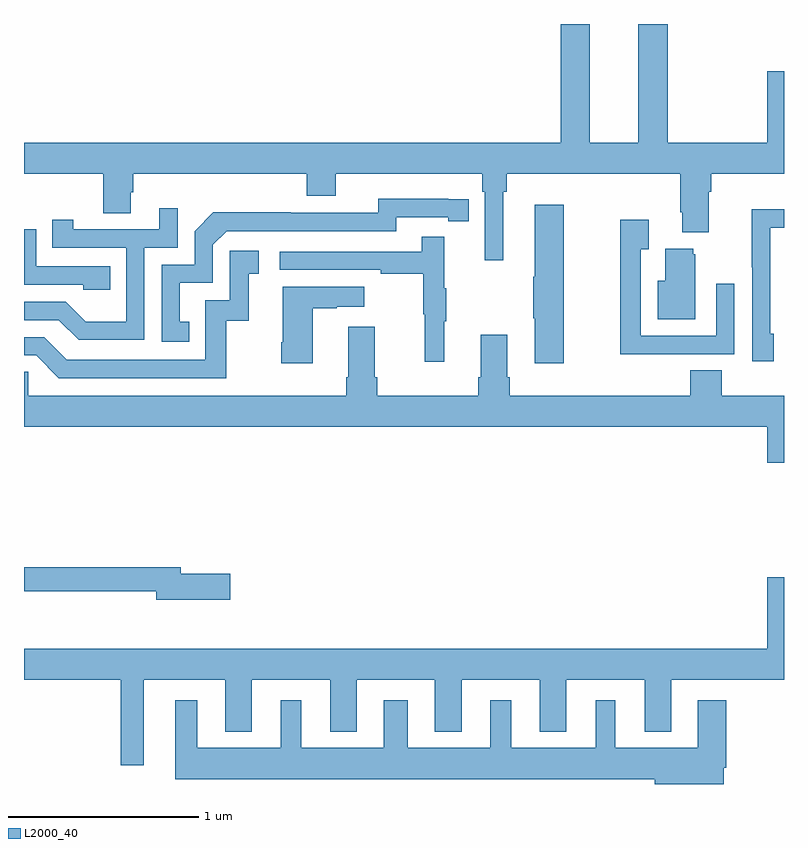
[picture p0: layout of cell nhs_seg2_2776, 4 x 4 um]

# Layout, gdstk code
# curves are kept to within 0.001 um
import gdstk
lib = gdstk.Library(unit=1e-6, precision=1e-09)
def P(c, l, *ps):  # polygons
    for p in ps: c.add(gdstk.Polygon(p, *l))
L2000_40 = (2000, 40)

nhs_seg2_2776 = lib.new_cell('nhs_seg2_2776')
P(nhs_seg2_2776, L2000_40, [(260.387,605.8),(260.234,605.8),(260.234,605.176),(259.978,605.176),(259.978,605.8),(259.826,605.8),(259.826,605.176),(257,605.176),(257,605.012),(257.416,605.012),(257.416,604.804),(257.563,604.804),(257.563,604.914),(257.576,604.914),(257.576,605.012),(258.488,605.012),(258.488,604.895),(258.64,604.895),(258.64,605.012),(259.412,605.012),(259.412,604.916),(259.425,604.916),(259.425,604.557),(259.522,604.557),(259.522,604.916),(259.541,604.916),(259.541,605.012),(260.453,605.012),(260.453,604.81),(260.465,604.81),(260.465,604.703),(260.605,604.703),(260.605,604.916),(260.618,604.916),(260.618,605.012),(261,605.012),(261,605.551),(260.912,605.551),(260.912,605.176),(260.387,605.176)],
  [(257.87,604.233),(257.821,604.233),(257.821,604.437),(257.994,604.437),(257.994,604.638),(258.066,604.71),(258.96,604.71),(258.96,604.782),(259.232,604.782),(259.232,604.762),(259.34,604.762),(259.34,604.878),(258.864,604.879),(258.864,604.806),(258.404,604.806),(258.404,604.808),(257.996,604.808),(257.898,604.71),(257.898,604.533),(257.724,604.533),(257.724,604.128),(257.87,604.128)],
  [(259.842,604.849),(259.688,604.849),(259.688,604.469),(259.681,604.469),(259.681,604.252),(259.688,604.252),(259.688,604.014),(259.842,604.014)],
  [(257.634,604.623),(257.808,604.623),(257.808,604.831),(257.711,604.831),(257.711,604.719),(257.26,604.719),(257.26,604.771),(257.149,604.771),(257.149,604.623),(257.538,604.623),(257.538,604.234),(257.324,604.234),(257.22,604.338),(257,604.338),(257,604.242),(257.183,604.242),(257.288,604.137),(257.634,604.137)],
  [(260.947,604.17),(260.928,604.17),(260.928,604.728),(261,604.728),(261,604.826),(260.83,604.826),(260.83,604.519),(260.832,604.519),(260.832,604.026),(260.947,604.026)],
  [(260.423,604.062),(260.739,604.062),(260.739,604.432),(260.643,604.432),(260.643,604.158),(260.247,604.158),(260.247,604.615),(260.287,604.615),(260.287,604.771),(260.139,604.771),(260.139,604.061),(260.423,604.061)],
  [(257.453,604.524),(257.064,604.524),(257.064,604.719),(257,604.719),(257,604.428),(257.313,604.428),(257.313,604.401),(257.453,604.401)],
  [(259.211,604.235),(259.222,604.235),(259.222,604.409),(259.211,604.409),(259.211,604.681),(259.093,604.681),(259.093,604.602),(258.345,604.602),(258.345,604.506),(258.877,604.506),(258.877,604.486),(259.101,604.486),(259.101,604.272),(259.108,604.272),(259.108,604.023),(259.211,604.023)],
  [(260.533,604.587),(260.522,604.587),(260.522,604.618),(260.375,604.618),(260.375,604.45),(260.336,604.45),(260.336,604.247),(260.533,604.247)],
  [(258.064,604.239),(258.182,604.239),(258.182,604.485),(258.235,604.485),(258.235,604.606),(258.084,604.606),(258.084,604.347),(257.955,604.347),(257.955,604.032),(257.226,604.032),(257.106,604.152),(257,604.152),(257,604.056),(257.064,604.056),(257.184,603.936),(258.064,603.936)],
  [(258.52,604.303),(258.647,604.303),(258.647,604.313),(258.79,604.313),(258.79,604.417),(258.362,604.417),(258.362,604.126),(258.355,604.126),(258.355,604.014),(258.52,604.014)],
  [(261,603.844),(260.672,603.844),(260.672,603.977),(260.507,603.977),(260.507,603.844),(259.556,603.844),(259.556,603.94),(259.543,603.94),(259.543,604.165),(259.403,604.165),(259.403,603.94),(259.391,603.94),(259.391,603.844),(258.86,603.844),(258.86,603.94),(258.847,603.94),(258.847,604.207),(258.707,604.207),(258.707,603.94),(258.695,603.94),(258.695,603.844),(257.022,603.844),(257.022,603.971),(257,603.971),(257,603.68),(260.912,603.68),(260.912,603.492),(261,603.492)],
  [(258.085,602.906),(257.824,602.906),(257.824,602.942),(257,602.942),(257,602.814),(257.696,602.814),(257.696,602.771),(258.085,602.771)],
  [(257.629,602.348),(258.059,602.348),(258.059,602.075),(258.199,602.075),(258.199,602.348),(258.611,602.348),(258.611,602.075),(258.751,602.075),(258.751,602.348),(259.163,602.348),(259.163,602.075),(259.303,602.075),(259.303,602.348),(259.715,602.348),(259.715,602.075),(259.855,602.075),(259.855,602.348),(260.267,602.348),(260.267,602.075),(260.407,602.075),(260.407,602.348),(261,602.348),(261,602.887),(260.912,602.887),(260.912,602.512),(257,602.512),(257,602.348),(257.508,602.348),(257.508,601.899),(257.629,601.899)],
  [(260.683,601.886),(260.696,601.886),(260.696,602.242),(260.546,602.242),(260.546,601.99),(260.113,601.99),(260.113,602.242),(260.009,602.242),(260.009,601.99),(259.564,601.99),(259.564,602.242),(259.454,602.242),(259.454,601.99),(259.021,601.99),(259.021,602.242),(258.893,602.242),(258.893,601.99),(258.46,601.99),(258.46,602.242),(258.35,602.242),(258.35,601.99),(257.911,601.99),(257.911,602.242),(257.795,602.242),(257.795,601.826),(260.321,601.826),(260.321,601.8),(260.683,601.8)])

lib.write_gds('nhs_seg2_2776.gds')
